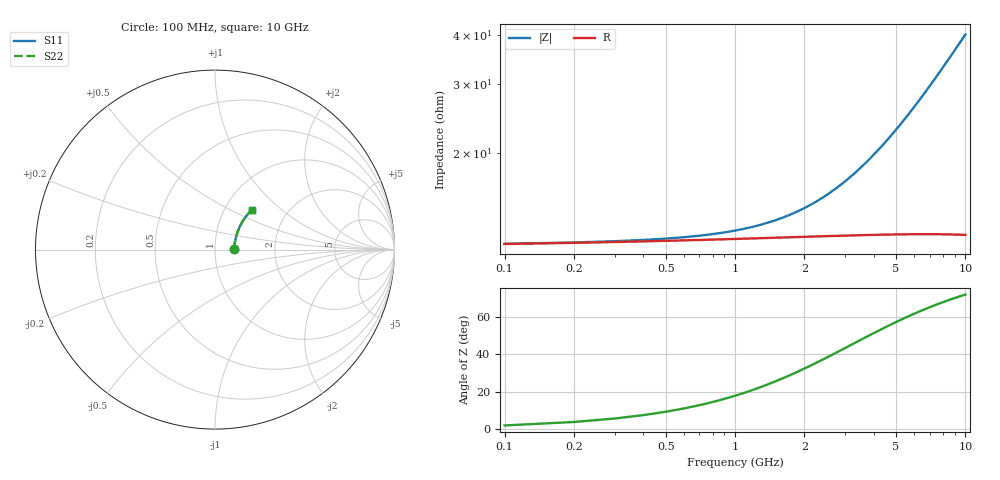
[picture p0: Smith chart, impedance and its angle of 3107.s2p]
# Hz S RI R 50.00
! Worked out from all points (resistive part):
!   100 points, 100 MHz to 10 GHz, reference 50 ohm
!   read as one part in series: R = 11.7 ohm at 100 MHz
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1e8  0.1046 0.00258  0.8954 -0.00361  0.8954 -0.00361  0.1046 0.00258
6e8  0.1069 0.0154  0.893 -0.0216  0.893 -0.0216  0.1069 0.0154
8e8  0.1077 0.0205  0.8923 -0.0288  0.8923 -0.0288  0.1077 0.0205
1e9  0.1084 0.0255  0.8915 -0.0359  0.8915 -0.0359  0.1084 0.0255
1.2e9  0.1092 0.0306  0.8907 -0.043  0.8907 -0.043  0.1092 0.0306
1.4e9  0.11 0.0357  0.8898 -0.0502  0.8898 -0.0502  0.11 0.0357
1.8e9  0.1118 0.0457  0.888 -0.0644  0.888 -0.0644  0.1118 0.0457
2.1e9  0.1133 0.0532  0.8864 -0.075  0.8864 -0.075  0.1133 0.0532
2.4e9  0.115 0.0606  0.8847 -0.0855  0.8847 -0.0855  0.115 0.0606
2.8e9  0.1174 0.0705  0.8821 -0.0995  0.8821 -0.0995  0.1174 0.0705
3.4e9  0.1216 0.0851  0.8777 -0.1203  0.8777 -0.1203  0.1216 0.0851
4.3e9  0.129 0.1064  0.8699 -0.151  0.8699 -0.151  0.129 0.1064
5.1e9  0.1368 0.1248  0.8617 -0.1777  0.8617 -0.1777  0.1368 0.1248
5.5e9  0.141 0.1338  0.8572 -0.1908  0.8572 -0.1908  0.141 0.1338
5.9e9  0.1456 0.1425  0.8524 -0.2038  0.8524 -0.2038  0.1456 0.1425
6.3e9  0.1503 0.1512  0.8474 -0.2165  0.8474 -0.2165  0.1503 0.1512
6.7e9  0.1554 0.1596  0.8421 -0.2291  0.8421 -0.2291  0.1554 0.1596
7.5e9  0.1661 0.1758  0.8307 -0.2537  0.8307 -0.2537  0.1661 0.1758
7.9e9  0.1718 0.1836  0.8246 -0.2657  0.8246 -0.2657  0.1718 0.1836
8.4e9  0.1792 0.1931  0.8167 -0.2804  0.8167 -0.2804  0.1792 0.1931
9.2e9  0.1917 0.2075  0.8035 -0.3031  0.8035 -0.3031  0.1917 0.2075
1e10  0.2048 0.221  0.7894 -0.325  0.7894 -0.325  0.2048 0.221
